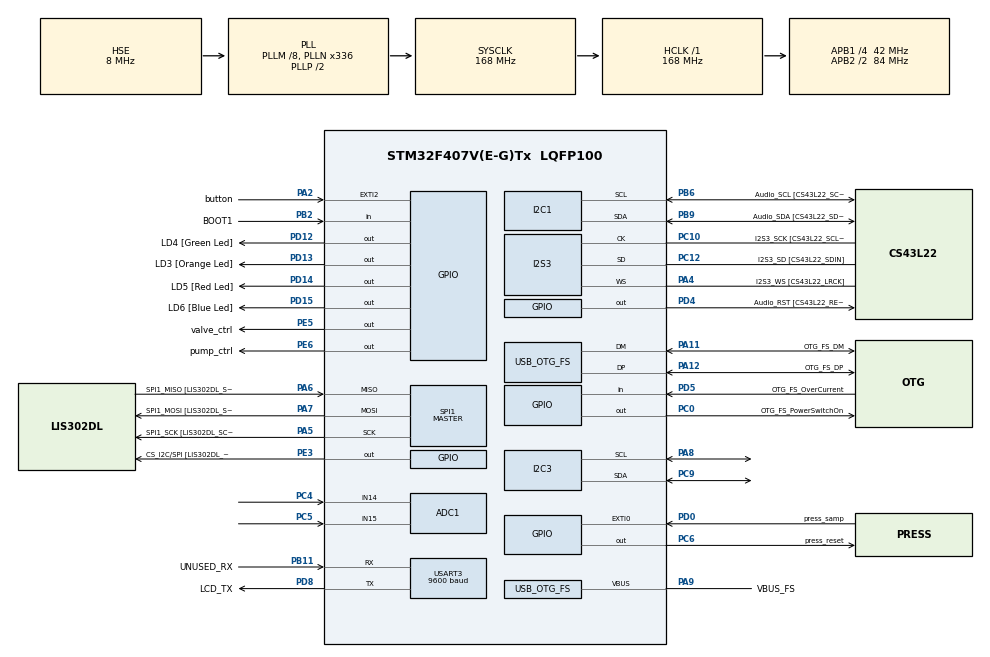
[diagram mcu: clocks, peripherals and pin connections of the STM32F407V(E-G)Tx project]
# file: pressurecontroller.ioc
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ADC1.Channel-0\#ChannelRegularConversion=ADC_CHANNEL_14
ADC1.Channel-1\#ChannelRegularConversion=ADC_CHANNEL_15
ADC1.DMAContinuousRequests=ENABLE
ADC1.EOCSelection=ADC_EOC_SEQ_CONV
ADC1.ExternalTrigConv=ADC_EXTERNALTRIGCONV_T2_TRGO
ADC1.NbrOfConversion=2
ADC1.NbrOfConversionFlag=1
ADC1.Rank-0\#ChannelRegularConversion=1
ADC1.Rank-1\#ChannelRegularConversion=2
ADC1.SamplingTime-0\#ChannelRegularConversion=ADC_SAMPLETIME_28CYCLES
ADC1.SamplingTime-1\#ChannelRegularConversion=ADC_SAMPLETIME_28CYCLES
ADC1.ScanConvMode=ENABLE
ADC1.master=1
Dma.ADC1.0.Direction=DMA_PERIPH_TO_MEMORY
Dma.ADC1.0.FIFOMode=DMA_FIFOMODE_DISABLE
Dma.ADC1.0.Instance=DMA2_Stream0
Dma.ADC1.0.MemDataAlignment=DMA_MDATAALIGN_HALFWORD
Dma.ADC1.0.MemInc=DMA_MINC_ENABLE
Dma.ADC1.0.Mode=DMA_CIRCULAR
Dma.ADC1.0.PeriphDataAlignment=DMA_PDATAALIGN_HALFWORD
Dma.ADC1.0.PeriphInc=DMA_PINC_DISABLE
Dma.ADC1.0.Priority=DMA_PRIORITY_LOW
Dma.Request0=ADC1
FREERTOS.Queues01=pressureSample,3,control_packet_t,0,Static,pressureSampleBuffer,pressureSampleControlBlock;displayQueue,3,control_variables_t,0,Static,displayQueueBuffer,displayQueueControlBlock
FREERTOS.Tasks01=mainControlTask,24,512,controlTask,Default,NULL,Dynamic,NULL,NULL;buttonSampTask,8,128,buttonTask,Default,NULL,Dynamic,NULL,NULL;LCDdisplayTask,8,1024,displayTask,Default,NULL,Dynamic,NULL,NULL
FREERTOS.Timers01=pressureSampleTimer,TriggerPressureSample,osTimerPeriodic,Default,NULL,Static,pressureSampleTimerControlBlock
FREERTOS.configUSE_NEWLIB_REENTRANT=1
I2S3.ErrorAudioFreq=0.0 %
I2S3.FullDuplexMode=I2S_FULLDUPLEXMODE_DISABLE
I2S3.Instance=SPI$Index
I2S3.RealAudioFreq=8.0 KHz
I2S3.VirtualMode=I2S_MODE_MASTER
Mcu.Family=STM32F4
Mcu.Name=STM32F407V(E-G)Tx
Mcu.Package=LQFP100
NVIC.DMA2_Stream0_IRQn=true\:5\:0\:false\:false\:true\:true\:false\:true
NVIC.EXTI0_IRQn=true\:5\:0\:false\:false\:true\:true\:true\:true
NVIC.EXTI2_IRQn=true\:5\:0\:false\:false\:true\:true\:true\:true
NVIC.I2C3_EV_IRQn=true\:5\:0\:false\:false\:true\:true\:true\:true
NVIC.OTG_FS_IRQn=true\:5\:0\:false\:false\:true\:true\:true\:true
NVIC.PriorityGroup=NVIC_PRIORITYGROUP_4
NVIC.TIM1_UP_TIM10_IRQn=true\:15\:0\:false\:false\:true\:false\:false\:true
NVIC.TimeBase=TIM1_UP_TIM10_IRQn
NVIC.TimeBaseIP=TIM1
NVIC.USART3_IRQn=true\:5\:0\:false\:false\:true\:true\:true\:true
PA10.GPIO_Label=OTG_FS_ID
PA10.GPIO_Mode=GPIO_MODE_AF_PP
PA10.GPIO_PuPd=GPIO_NOPULL
PA10.GPIO_Speed=GPIO_SPEED_FREQ_LOW
PA10.Signal=USB_OTG_FS_ID
PA11.GPIO_Label=OTG_FS_DM
PA11.GPIO_Mode=GPIO_MODE_AF_PP
PA11.GPIO_PuPd=GPIO_NOPULL
PA11.GPIO_Speed=GPIO_SPEED_FREQ_LOW
PA11.Mode=Host_Only
PA11.Signal=USB_OTG_FS_DM
PA12.GPIO_Label=OTG_FS_DP
PA12.GPIO_Mode=GPIO_MODE_AF_PP
PA12.GPIO_PuPd=GPIO_NOPULL
PA12.GPIO_Speed=GPIO_SPEED_FREQ_LOW
PA12.Mode=Host_Only
PA12.Signal=USB_OTG_FS_DP
PA13.GPIO_Label=SWDIO
PA13.Mode=Serial_Wire
PA13.Signal=SYS_JTMS-SWDIO
PA14.GPIO_Label=SWCLK
PA14.Mode=Serial_Wire
PA14.Signal=SYS_JTCK-SWCLK
PA2.GPIO_Label=button
PA2.GPIO_PuPd=GPIO_PULLUP
PA2.Signal=GPXTI2
PA4.GPIO_Label=I2S3_WS [CS43L22_LRCK]
PA4.GPIO_Mode=GPIO_MODE_AF_PP
PA4.GPIO_PuPd=GPIO_NOPULL
PA4.GPIO_Speed=GPIO_SPEED_FREQ_LOW
PA4.Mode=Half_Duplex_Master
PA4.Signal=I2S3_WS
PA5.GPIO_Label=SPI1_SCK [LIS302DL_SCL/SPC]
PA5.GPIO_Mode=GPIO_MODE_AF_PP
PA5.GPIO_PuPd=GPIO_NOPULL
PA5.GPIO_Speed=GPIO_SPEED_FREQ_LOW
PA5.Mode=Full_Duplex_Master
PA5.Signal=SPI1_SCK
PA6.GPIO_Label=SPI1_MISO [LIS302DL_SDO]
PA6.GPIO_Mode=GPIO_MODE_AF_PP
PA6.GPIO_PuPd=GPIO_NOPULL
PA6.GPIO_Speed=GPIO_SPEED_FREQ_LOW
PA6.Mode=Full_Duplex_Master
PA6.Signal=SPI1_MISO
PA7.GPIO_Label=SPI1_MOSI [LIS302DL_SDA/SDI/SDO]
PA7.GPIO_Mode=GPIO_MODE_AF_PP
PA7.GPIO_PuPd=GPIO_NOPULL
PA7.GPIO_Speed=GPIO_SPEED_FREQ_LOW
PA7.Mode=Full_Duplex_Master
PA7.Signal=SPI1_MOSI
PA8.GPIO_Pu=GPIO_PULLUP
PA8.Mode=I2C
PA8.Signal=I2C3_SCL
PA9.GPIO_Label=VBUS_FS
PA9.GPIO_Mode=GPIO_MODE_INPUT
PA9.GPIO_PuPd=GPIO_NOPULL
PA9.Mode=Activate_VBUS
PA9.Signal=USB_OTG_FS_VBUS
PB10.GPIO_Label=CLK_IN [MP45DT02_CLK]
PB10.GPIO_Mode=GPIO_MODE_AF_PP
PB10.GPIO_PuPd=GPIO_NOPULL
PB10.GPIO_Speed=GPIO_SPEED_FREQ_LOW
PB10.Signal=I2S2_CK
PB11.GPIO_Label=UNUSED_RX
PB11.Mode=Asynchronous
PB11.Signal=USART3_RX
PB2.GPIO_Label=BOOT1
PB2.GPIO_Mode=GPIO_MODE_INPUT
PB2.GPIO_PuPd=GPIO_NOPULL
PB2.Signal=GPIO_Input
PB3.GPIO_Label=SWO
PB3.Signal=SYS_JTDO-SWO
PB6.GPIO_Label=Audio_SCL [CS43L22_SCL]
PB6.GPIO_Mode=GPIO_MODE_AF_OD
PB6.GPIO_Pu=GPIO_PULLUP
PB6.GPIO_PuPd=GPIO_NOPULL
PB6.GPIO_Speed=GPIO_SPEED_FREQ_LOW
PB6.Mode=I2C
PB6.Signal=I2C1_SCL
PB9.GPIO_Label=Audio_SDA [CS43L22_SDA]
PB9.GPIO_Mode=GPIO_MODE_AF_OD
PB9.GPIO_Pu=GPIO_PULLUP
PB9.GPIO_PuPd=GPIO_NOPULL
PB9.GPIO_Speed=GPIO_SPEED_FREQ_LOW
PB9.Mode=I2C
PB9.Signal=I2C1_SDA
PC0.GPIO_Label=OTG_FS_PowerSwitchOn
PC0.GPIO_PuPd=GPIO_NOPULL
PC0.GPIO_Speed=GPIO_SPEED_FREQ_LOW
PC0.PinState=GPIO_PIN_SET
PC0.Signal=GPIO_Output
PC10.GPIO_Label=I2S3_SCK [CS43L22_SCLK]
PC10.GPIO_Mode=GPIO_MODE_AF_PP
PC10.GPIO_PuPd=GPIO_NOPULL
PC10.GPIO_Speed=GPIO_SPEED_FREQ_LOW
PC10.Mode=Half_Duplex_Master
PC10.Signal=I2S3_CK
PC12.GPIO_Label=I2S3_SD [CS43L22_SDIN]
PC12.GPIO_Mode=GPIO_MODE_AF_PP
PC12.GPIO_PuPd=GPIO_NOPULL
PC12.GPIO_Speed=GPIO_SPEED_FREQ_LOW
PC12.Mode=Half_Duplex_Master
PC12.Signal=I2S3_SD
PC14-OSC32_IN.GPIO_Label=PC14-OSC32_IN
PC14-OSC32_IN.Mode=LSE-External-Oscillator
PC14-OSC32_IN.Signal=RCC_OSC32_IN
PC15-OSC32_OUT.GPIO_Label=PC15-OSC32_OUT
PC15-OSC32_OUT.Mode=LSE-External-Oscillator
PC15-OSC32_OUT.Signal=RCC_OSC32_OUT
PC3.GPIO_Label=PDM_OUT [MP45DT02_DOUT]
PC3.GPIO_Mode=GPIO_MODE_AF_PP
PC3.GPIO_PuPd=GPIO_NOPULL
PC3.GPIO_Speed=GPIO_SPEED_FREQ_LOW
PC3.Signal=I2S2_SD
PC4.Signal=ADCx_IN14
PC5.Signal=ADCx_IN15
PC6.GPIO_Label=press_reset
PC6.Signal=GPIO_Output
PC9.GPIO_Pu=GPIO_PULLUP
PC9.Mode=I2C
PC9.Signal=I2C3_SDA
PD0.GPIO_Label=press_samp
PD0.GPIO_PuPd=GPIO_PULLUP
PD0.Signal=GPXTI0
PD12.GPIO_Label=LD4 [Green Led]
PD12.GPIO_PuPd=GPIO_NOPULL
PD12.GPIO_Speed=GPIO_SPEED_FREQ_LOW
PD12.Signal=GPIO_Output
PD13.GPIO_Label=LD3 [Orange Led]
PD13.GPIO_PuPd=GPIO_NOPULL
PD13.GPIO_Speed=GPIO_SPEED_FREQ_LOW
PD13.Signal=GPIO_Output
PD14.GPIO_Label=LD5 [Red Led]
PD14.GPIO_PuPd=GPIO_NOPULL
PD14.GPIO_Speed=GPIO_SPEED_FREQ_LOW
PD14.Signal=GPIO_Output
PD15.GPIO_Label=LD6 [Blue Led]
PD15.GPIO_PuPd=GPIO_NOPULL
PD15.GPIO_Speed=GPIO_SPEED_FREQ_LOW
PD15.Signal=GPIO_Output
PD4.GPIO_Label=Audio_RST [CS43L22_RESET]
PD4.GPIO_PuPd=GPIO_NOPULL
PD4.GPIO_Speed=GPIO_SPEED_FREQ_LOW
PD4.Signal=GPIO_Output
PD5.GPIO_Label=OTG_FS_OverCurrent
PD5.GPIO_Mode=GPIO_MODE_INPUT
PD5.GPIO_PuPd=GPIO_NOPULL
PD5.Signal=GPIO_Input
PD8.GPIO_Label=LCD_TX
PD8.Mode=Asynchronous
PD8.Signal=USART3_TX
PE3.GPIO_Label=CS_I2C/SPI [LIS302DL_CS_I2C/SPI]
PE3.GPIO_PuPd=GPIO_NOPULL
PE3.GPIO_Speed=GPIO_SPEED_FREQ_LOW
PE3.Signal=GPIO_Output
PE5.GPIO_Label=valve_ctrl
PE5.Signal=GPIO_Output
PE6.GPIO_Label=pump_ctrl
PE6.Signal=GPIO_Output
PH0-OSC_IN.GPIO_Label=PH0-OSC_IN
PH0-OSC_IN.Mode=HSE-External-Oscillator
PH0-OSC_IN.Signal=RCC_OSC_IN
PH1-OSC_OUT.GPIO_Label=PH1-OSC_OUT
PH1-OSC_OUT.Mode=HSE-External-Oscillator
PH1-OSC_OUT.Signal=RCC_OSC_OUT
ProjectManager.HeapSize=0x200
ProjectManager.StackSize=0x400
ProjectManager.TargetToolchain=STM32CubeIDE
RCC.48MHZClocksFreq_Value=48000000
RCC.AHBFreq_Value=168000000
RCC.APB1CLKDivider=RCC_HCLK_DIV4
RCC.APB1Freq_Value=42000000
RCC.APB1TimFreq_Value=84000000
RCC.APB2CLKDivider=RCC_HCLK_DIV2
RCC.APB2Freq_Value=84000000
RCC.APB2TimFreq_Value=168000000
RCC.CortexFreq_Value=168000000
RCC.HCLKFreq_Value=168000000
RCC.HSE_VALUE=8000000
RCC.HSI_VALUE=16000000
RCC.PLLM=8
RCC.PLLN=336
RCC.PLLQ=7
RCC.SYSCLKFreq_VALUE=168000000
RCC.SYSCLKSource=RCC_SYSCLKSOURCE_PLLCLK
RCC.VCOOutputFreq_Value=336000000
SH.ADCx_IN14.0=ADC1_IN14,IN14
SH.ADCx_IN15.0=ADC1_IN15,IN15
SPI1.BaudRatePrescaler-Full_Duplex_Master=SPI_BAUDRATEPRESCALER_2
SPI1.CalculateBaudRate-Full_Duplex_Master=42.0 MBits/s
SPI1.Direction=SPI_DIRECTION_2LINES
SPI1.Mode=SPI_MODE_MASTER
SPI1.Mode-Full_Duplex_Master=SPI_MODE_MASTER
SPI1.VirtualType=VM_MASTER
TIM2.AutoReloadPreload=TIM_AUTORELOAD_PRELOAD_ENABLE
TIM2.Period=80
TIM2.Prescaler=42000
TIM2.TIM_MasterOutputTrigger=TIM_TRGO_UPDATE
USART3.BaudRate=9600
USART3.VirtualMode=VM_ASYNC
USB_HOST.BSP.number=1
USB_HOST.USBH_HandleTypeDef-CDC_FS=hUsbHostFS
USB_HOST.VirtualModeFS=Cdc
USB_HOST0.BSP.STBoard=false
USB_HOST0.BSP.api=Unknown
USB_HOST0.BSP.i2caddr=0
USB_HOST0.BSP.i2creg=0
USB_HOST0.BSP.instance=PC0
USB_HOST0.BSP.ip=GPIO
USB_HOST0.BSP.mode=Output
USB_HOST0.BSP.name=Drive_VBUS_FS
USB_HOST0.BSP.solution=PC0
USB_OTG_FS.VirtualMode=Host_Only
USB_OTG_FS.phy_itface=HCD_PHY_EMBEDDED
VP_FREERTOS_VS_CMSIS_V2.Mode=CMSIS_V2
VP_SYS_VS_tim1.Mode=TIM1
VP_TIM2_VS_ClockSourceINT.Mode=Internal
VP_USB_HOST_VS_USB_HOST_CDC_FS.Mode=CDC_FS
board=STM32F407G-DISC1

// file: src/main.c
/* USER CODE BEGIN Header */
/**
  ******************************************************************************
  * @file           : main.c
  * @brief          : Main program body
  ******************************************************************************
  *  Vacuum Chamber Controller
  *  Created by Joshua Karch for Eyebotix, LLC
  *  (C)2020,2021 by Joshua Karch
  *  This code is partially generated by STM32CubeMX so portions of this code
  *  that are autogenerated are licensed by ST under Ultimate Liberty license
  *  SLA0044, the "License"; You may not use this file except in compliance with
  *  the License. You may obtain a copy of the License at:
  *                             www.st.com/SLA0044
  *  The remainder of this code is covered under
  *  MIT License
  *  Copyright (c) 2020-2021 Joshua P. Karch
  *
  *  Permission is hereby granted, free of charge, to any person obtaining a copy
  *  of this software and associated documentation files (the "Software"), to deal
  *  in the Software without restriction, including without limitation the rights
  *  to use, copy, modify, merge, publish, distribute, sublicense, and/or sell
  *  copies of the Software, and to permit persons to whom the Software is
  *  furnished to do so, subject to the following conditions:
  *  The above copyright notice and this permission notice shall be included in all
  *  copies or substantial portions of the Software.
  *
  *  THE SOFTWARE IS PROVIDED "AS IS", WITHOUT WARRANTY OF ANY KIND, EXPRESS OR
  *  IMPLIED, INCLUDING BUT NOT LIMITED TO THE WARRANTIES OF MERCHANTABILITY,
  *  FITNESS FOR A PARTICULAR PURPOSE AND NONINFRINGEMENT. IN NO EVENT SHALL THE
  *  AUTHORS OR COPYRIGHT HOLDERS BE LIABLE FOR ANY CLAIM, DAMAGES OR OTHER
  *  LIABILITY, WHETHER IN AN ACTION OF CONTRACT, TORT OR OTHERWISE, ARISING FROM,
  *  OUT OF OR IN CONNECTION WITH THE SOFTWARE OR THE USE OR OTHER DEALINGS IN THE
  *  SOFTWARE.
  *
  ******************************************************************************
  */
/* USER CODE END Header */
#include "main.h"
#include "cmsis_os.h"
#include "usb_host.h"
#include "usb_host.h"

/* USER CODE BEGIN Includes */
//https://www.youtube.com/watch?v=uohla8zjzkk
//ADC stuff
#include <string.h>
#include <stdio.h>
/* USER CODE END Includes */

typedef StaticQueue_t osStaticMessageQDef_t;
typedef StaticTimer_t osStaticTimerDef_t;

ADC_HandleTypeDef hadc1;
DMA_HandleTypeDef hdma_adc1;

I2C_HandleTypeDef hi2c1;
I2C_HandleTypeDef hi2c3;

I2S_HandleTypeDef hi2s3;

SPI_HandleTypeDef hspi1;

TIM_HandleTypeDef htim2;

UART_HandleTypeDef huart3;

/* Definitions for mainControlTask */
osThreadId_t mainControlTaskHandle;
const osThreadAttr_t mainControlTask_attributes = {
  .name = "mainControlTask",
  .stack_size = 512 * 4,
  .priority = (osPriority_t) osPriorityNormal,
};
/* Definitions for buttonSampTask */
osThreadId_t buttonSampTaskHandle;
const osThreadAttr_t buttonSampTask_attributes = {
  .name = "buttonSampTask",
  .stack_size = 128 * 4,
  .priority = (osPriority_t) osPriorityLow,
};
/* Definitions for LCDdisplayTask */
osThreadId_t LCDdisplayTaskHandle;
const osThreadAttr_t LCDdisplayTask_attributes = {
  .name = "LCDdisplayTask",
  .stack_size = 1024 * 4,
  .priority = (osPriority_t) osPriorityLow,
};
/* Definitions for pressureSample */
osMessageQueueId_t pressureSampleHandle;
control_packet_t pressureSampleBuffer[3];
osStaticMessageQDef_t pressureSampleControlBlock;
const osMessageQueueAttr_t pressureSample_attributes = {
  .name = "pressureSample",
  .cb_mem = &pressureSampleControlBlock,
  .cb_size = sizeof(pressureSampleControlBlock),
  .mq_mem = &pressureSampleBuffer,
  .mq_size = sizeof(pressureSampleBuffer)
};
/* Definitions for displayQueue */
osMessageQueueId_t displayQueueHandle;
control_variables_t displayQueueBuffer[3];
osStaticMessageQDef_t displayQueueControlBlock;
const osMessageQueueAttr_t displayQueue_attributes = {
  .name = "displayQueue",
  .cb_mem = &displayQueueControlBlock,
  .cb_size = sizeof(displayQueueControlBlock),
  .mq_mem = &displayQueueBuffer,
  .mq_size = sizeof(displayQueueBuffer)
};
/* Definitions for pressureSampleTimer */
osTimerId_t pressureSampleTimerHandle;
osStaticTimerDef_t pressureSampleTimerControlBlock;
const osTimerAttr_t pressureSampleTimer_attributes = {
  .name = "pressureSampleTimer",
  .cb_mem = &pressureSampleTimerControlBlock,
  .cb_size = sizeof(pressureSampleTimerControlBlock),
};
/* USER CODE BEGIN PV */
//Pressure data location for I2C ISR
volatile uint8_t pressureData[4];
//DMA storage location for Joystick ADC readings:
volatile uint16_t Joystick[2];
//button debounce structure
volatile button_debounce_t button;
//function command list
const uint8_t function_commands[3] = { SetPressure, Purge, RunContinuous };
//pressure control variables
const uint8_t row_positions[4] = { 0x00, 0x40, 0x14, 0x54 };
const char* pres_samp_mode = "Press Md";
const char* purge_mode = "Purge Md";
const char* continuous_mode = "Contin Md";

//control_packet_t pressureSampleBuffer[3];  //copy and paste this into the auto generated structure.
//control_variables_t displayQueueBuffer[3];
volatile control_variables_t ctrl_vars;

/* USER CODE END PV */

void SystemClock_Config(void);
static void MX_GPIO_Init(void);
static void MX_DMA_Init(void);
static void MX_ADC1_Init(void);
static void MX_I2C1_Init(void);
static void MX_I2S3_Init(void);
static void MX_SPI1_Init(void);
static void MX_TIM2_Init(void);
static void MX_I2C3_Init(void);
static void MX_USART3_UART_Init(void);
void controlTask(void *argument);
void buttonTask(void *argument);
void displayTask(void *argument);
void TriggerPressureSample(void *argument);

int main(void)
{
  /* USER CODE BEGIN 1 */
	memset((void *)&button, 0, sizeof(button_debounce_t)); //erase
  /* USER CODE END 1 */

  /* MCU Configuration--------------------------------------------------------*/

  /* Reset of all peripherals, Initializes the Flash interface and the Systick. */
  HAL_Init();

  /* Configure the system clock */
  SystemClock_Config();

  /* Initialize all configured peripherals */
  MX_GPIO_Init();
  MX_DMA_Init();
  MX_ADC1_Init();
  MX_I2C1_Init();
  MX_I2S3_Init();
  MX_SPI1_Init();
  MX_TIM2_Init();
  MX_I2C3_Init();
  MX_USART3_UART_Init();
  /* USER CODE BEGIN 2 */
	HAL_GPIO_WritePin(press_reset_GPIO_Port, press_reset_Pin, GPIO_PIN_RESET);
	osDelay(100);
	HAL_GPIO_WritePin(press_reset_GPIO_Port, press_reset_Pin, GPIO_PIN_SET);
	osDelay(100);
	HAL_TIM_Base_Start(&htim2);
	HAL_ADC_Start_DMA(&hadc1, (uint32_t*) Joystick, 2);
  /* USER CODE END 2 */

  /* Init scheduler */
  osKernelInitialize();

  /* Create the timer(s) */
  /* creation of pressureSampleTimer */
  pressureSampleTimerHandle = osTimerNew(TriggerPressureSample, osTimerPeriodic, NULL, &pressureSampleTimer_attributes);

  /* Create the queue(s) */
  /* creation of pressureSample */
  pressureSampleHandle = osMessageQueueNew (3, sizeof(control_packet_t), &pressureSample_attributes);

  /* creation of displayQueue */
  displayQueueHandle = osMessageQueueNew (3, sizeof(control_variables_t), &displayQueue_attributes);

  /* Create the thread(s) */
  /* creation of mainControlTask */
  mainControlTaskHandle = osThreadNew(controlTask, NULL, &mainControlTask_attributes);

  /* creation of buttonSampTask */
  buttonSampTaskHandle = osThreadNew(buttonTask, NULL, &buttonSampTask_attributes);

  /* creation of LCDdisplayTask */
  LCDdisplayTaskHandle = osThreadNew(displayTask, NULL, &LCDdisplayTask_attributes);

  /* USER CODE BEGIN RTOS_EVENTS */
  /* add events, ... */
	osStatus_t status = osTimerStart(pressureSampleTimerHandle, PRESS_TIMER_DELAY); // start timer
	if (status != osOK) {
		// Timer could not be started
	}
  /* USER CODE END RTOS_EVENTS */

  /* Start scheduler */
  osKernelStart();

  /* We should never get here as control is now taken by the scheduler */
  /* Infinite loop */
  while (1)
  {

  }
}

void SystemClock_Config(void)
{
  RCC_OscInitTypeDef RCC_OscInitStruct = {0};
  RCC_ClkInitTypeDef RCC_ClkInitStruct = {0};

  /** Configure the main internal regulator output voltage
  */
  __HAL_RCC_PWR_CLK_ENABLE();
  __HAL_PWR_VOLTAGESCALING_CONFIG(PWR_REGULATOR_VOLTAGE_SCALE1);
  /** Initializes the RCC Oscillators according to the specified parameters
  * in the RCC_OscInitTypeDef structure.
  */
  RCC_OscInitStruct.OscillatorType = RCC_OSCILLATORTYPE_HSE;
  RCC_OscInitStruct.HSEState = RCC_HSE_ON;
  RCC_OscInitStruct.PLL.PLLState = RCC_PLL_ON;
  RCC_OscInitStruct.PLL.PLLSource = RCC_PLLSOURCE_HSE;
  RCC_OscInitStruct.PLL.PLLM = 8;
  RCC_OscInitStruct.PLL.PLLN = 336;
  RCC_OscInitStruct.PLL.PLLP = RCC_PLLP_DIV2;
  RCC_OscInitStruct.PLL.PLLQ = 7;
  if (HAL_RCC_OscConfig(&RCC_OscInitStruct) != HAL_OK)
  {
    Error_Handler();
  }
  /** Initializes the CPU, AHB and APB buses clocks
  */
  RCC_ClkInitStruct.ClockType = RCC_CLOCKTYPE_HCLK|RCC_CLOCKTYPE_SYSCLK
                              |RCC_CLOCKTYPE_PCLK1|RCC_CLOCKTYPE_PCLK2;
  RCC_ClkInitStruct.SYSCLKSource = RCC_SYSCLKSOURCE_PLLCLK;
  RCC_ClkInitStruct.AHBCLKDivider = RCC_SYSCLK_DIV1;
  RCC_ClkInitStruct.APB1CLKDivider = RCC_HCLK_DIV4;
  RCC_ClkInitStruct.APB2CLKDivider = RCC_HCLK_DIV2;

  if (HAL_RCC_ClockConfig(&RCC_ClkInitStruct, FLASH_LATENCY_5) != HAL_OK)
  {
    Error_Handler();
  }
}

static void MX_ADC1_Init(void)
{

  ADC_ChannelConfTypeDef sConfig = {0};

  /** Configure the global features of the ADC (Clock, Resolution, Data Alignment and number of conversion)
  */
  hadc1.Instance = ADC1;
  hadc1.Init.ClockPrescaler = ADC_CLOCK_SYNC_PCLK_DIV4;
  hadc1.Init.Resolution = ADC_RESOLUTION_12B;
  hadc1.Init.ScanConvMode = ENABLE;
  hadc1.Init.ContinuousConvMode = DISABLE;
  hadc1.Init.DiscontinuousConvMode = DISABLE;
  hadc1.Init.ExternalTrigConvEdge = ADC_EXTERNALTRIGCONVEDGE_RISING;
  hadc1.Init.ExternalTrigConv = ADC_EXTERNALTRIGCONV_T2_TRGO;
  hadc1.Init.DataAlign = ADC_DATAALIGN_RIGHT;
  hadc1.Init.NbrOfConversion = 2;
  hadc1.Init.DMAContinuousRequests = ENABLE;
  hadc1.Init.EOCSelection = ADC_EOC_SEQ_CONV;
  if (HAL_ADC_Init(&hadc1) != HAL_OK)
  {
    Error_Handler();
  }
  /** Configure for the selected ADC regular channel its corresponding rank in the sequencer and its sample time.
  */
  sConfig.Channel = ADC_CHANNEL_14;
  sConfig.Rank = 1;
  sConfig.SamplingTime = ADC_SAMPLETIME_28CYCLES;
  if (HAL_ADC_ConfigChannel(&hadc1, &sConfig) != HAL_OK)
  {
    Error_Handler();
  }
  /** Configure for the selected ADC regular channel its corresponding rank in the sequencer and its sample time.
  */
  sConfig.Channel = ADC_CHANNEL_15;
  sConfig.Rank = 2;
  if (HAL_ADC_ConfigChannel(&hadc1, &sConfig) != HAL_OK)
  {
    Error_Handler();
  }

}

static void MX_I2C1_Init(void)
{

  hi2c1.Instance = I2C1;
  hi2c1.Init.ClockSpeed = 100000;
  hi2c1.Init.DutyCycle = I2C_DUTYCYCLE_2;
  hi2c1.Init.OwnAddress1 = 0;
  hi2c1.Init.AddressingMode = I2C_ADDRESSINGMODE_7BIT;
  hi2c1.Init.DualAddressMode = I2C_DUALADDRESS_DISABLE;
  hi2c1.Init.OwnAddress2 = 0;
  hi2c1.Init.GeneralCallMode = I2C_GENERALCALL_DISABLE;
  hi2c1.Init.NoStretchMode = I2C_NOSTRETCH_DISABLE;
  if (HAL_I2C_Init(&hi2c1) != HAL_OK)
  {
    Error_Handler();
  }

}

static void MX_I2C3_Init(void)
{

  hi2c3.Instance = I2C3;
  hi2c3.Init.ClockSpeed = 100000;
  hi2c3.Init.DutyCycle = I2C_DUTYCYCLE_2;
  hi2c3.Init.OwnAddress1 = 0;
  hi2c3.Init.AddressingMode = I2C_ADDRESSINGMODE_7BIT;
  hi2c3.Init.DualAddressMode = I2C_DUALADDRESS_DISABLE;
  hi2c3.Init.OwnAddress2 = 0;
  hi2c3.Init.GeneralCallMode = I2C_GENERALCALL_DISABLE;
  hi2c3.Init.NoStretchMode = I2C_NOSTRETCH_DISABLE;
  if (HAL_I2C_Init(&hi2c3) != HAL_OK)
  {
    Error_Handler();
  }

}

static void MX_I2S3_Init(void)
{

  hi2s3.Instance = SPI3;
  hi2s3.Init.Mode = I2S_MODE_MASTER_TX;
  hi2s3.Init.Standard = I2S_STANDARD_PHILIPS;
  hi2s3.Init.DataFormat = I2S_DATAFORMAT_16B;
  hi2s3.Init.MCLKOutput = I2S_MCLKOUTPUT_DISABLE;
  hi2s3.Init.AudioFreq = I2S_AUDIOFREQ_8K;
  hi2s3.Init.CPOL = I2S_CPOL_LOW;
  hi2s3.Init.ClockSource = I2S_CLOCK_PLL;
  hi2s3.Init.FullDuplexMode = I2S_FULLDUPLEXMODE_DISABLE;
  if (HAL_I2S_Init(&hi2s3) != HAL_OK)
  {
    Error_Handler();
  }

}

static void MX_SPI1_Init(void)
{

  /* SPI1 parameter configuration*/
  hspi1.Instance = SPI1;
  hspi1.Init.Mode = SPI_MODE_MASTER;
  hspi1.Init.Direction = SPI_DIRECTION_2LINES;
  hspi1.Init.DataSize = SPI_DATASIZE_8BIT;
  hspi1.Init.CLKPolarity = SPI_POLARITY_LOW;
  hspi1.Init.CLKPhase = SPI_PHASE_1EDGE;
  hspi1.Init.NSS = SPI_NSS_SOFT;
  hspi1.Init.BaudRatePrescaler = SPI_BAUDRATEPRESCALER_2;
  hspi1.Init.FirstBit = SPI_FIRSTBIT_MSB;
  hspi1.Init.TIMode = SPI_TIMODE_DISABLE;
  hspi1.Init.CRCCalculation = SPI_CRCCALCULATION_DISABLE;
  hspi1.Init.CRCPolynomial = 10;
  if (HAL_SPI_Init(&hspi1) != HAL_OK)
  {
    Error_Handler();
  }

}

static void MX_TIM2_Init(void)
{

  TIM_ClockConfigTypeDef sClockSourceConfig = {0};
  TIM_MasterConfigTypeDef sMasterConfig = {0};

  htim2.Instance = TIM2;
  htim2.Init.Prescaler = 42000;
  htim2.Init.CounterMode = TIM_COUNTERMODE_UP;
  htim2.Init.Period = 80;
  htim2.Init.ClockDivision = TIM_CLOCKDIVISION_DIV1;
  htim2.Init.AutoReloadPreload = TIM_AUTORELOAD_PRELOAD_ENABLE;
  if (HAL_TIM_Base_Init(&htim2) != HAL_OK)
  {
    Error_Handler();
  }
  sClockSourceConfig.ClockSource = TIM_CLOCKSOURCE_INTERNAL;
  if (HAL_TIM_ConfigClockSource(&htim2, &sClockSourceConfig) != HAL_OK)
  {
    Error_Handler();
  }
  sMasterConfig.MasterOutputTrigger = TIM_TRGO_UPDATE;
  sMasterConfig.MasterSlaveMode = TIM_MASTERSLAVEMODE_DISABLE;
  if (HAL_TIMEx_MasterConfigSynchronization(&htim2, &sMasterConfig) != HAL_OK)
  {
    Error_Handler();
  }

}

static void MX_USART3_UART_Init(void)
{

  huart3.Instance = USART3;
  huart3.Init.BaudRate = 9600;
  huart3.Init.WordLength = UART_WORDLENGTH_8B;
  huart3.Init.StopBits = UART_STOPBITS_1;
  huart3.Init.Parity = UART_PARITY_NONE;
  huart3.Init.Mode = UART_MODE_TX_RX;
  huart3.Init.HwFlowCtl = UART_HWCONTROL_NONE;
  huart3.Init.OverSampling = UART_OVERSAMPLING_16;
  if (HAL_UART_Init(&huart3) != HAL_OK)
  {
    Error_Handler();
  }

}

static void MX_DMA_Init(void)
{

  /* DMA controller clock enable */
  __HAL_RCC_DMA2_CLK_ENABLE();

  /* DMA interrupt init */
  /* DMA2_Stream0_IRQn interrupt configuration */
  HAL_NVIC_SetPriority(DMA2_Stream0_IRQn, 5, 0);
  HAL_NVIC_EnableIRQ(DMA2_Stream0_IRQn);

}

static void MX_GPIO_Init(void)
{
  GPIO_InitTypeDef GPIO_InitStruct = {0};

  /* GPIO Ports Clock Enable */
  __HAL_RCC_GPIOE_CLK_ENABLE();
  __HAL_RCC_GPIOC_CLK_ENABLE();
  __HAL_RCC_GPIOH_CLK_ENABLE();
  __HAL_RCC_GPIOA_CLK_ENABLE();
  __HAL_RCC_GPIOB_CLK_ENABLE();
  __HAL_RCC_GPIOD_CLK_ENABLE();

  /*Configure GPIO pin Output Level */
  HAL_GPIO_WritePin(GPIOE, CS_I2C_SPI_Pin|valve_ctrl_Pin|pump_ctrl_Pin, GPIO_PIN_RESET);

  /*Configure GPIO pin Output Level */
  HAL_GPIO_WritePin(OTG_FS_PowerSwitchOn_GPIO_Port, OTG_FS_PowerSwitchOn_Pin, GPIO_PIN_SET);

  /*Configure GPIO pin Output Level */
  HAL_GPIO_WritePin(GPIOD, LD4_Pin|LD3_Pin|LD5_Pin|LD6_Pin
                          |Audio_RST_Pin, GPIO_PIN_RESET);

  /*Configure GPIO pin Output Level */
  HAL_GPIO_WritePin(press_reset_GPIO_Port, press_reset_Pin, GPIO_PIN_RESET);

  /*Configure GPIO pins : CS_I2C_SPI_Pin valve_ctrl_Pin pump_ctrl_Pin */
  GPIO_InitStruct.Pin = CS_I2C_SPI_Pin|valve_ctrl_Pin|pump_ctrl_Pin;
  GPIO_InitStruct.Mode = GPIO_MODE_OUTPUT_PP;
  GPIO_InitStruct.Pull = GPIO_NOPULL;
  GPIO_InitStruct.Speed = GPIO_SPEED_FREQ_LOW;
  HAL_GPIO_Init(GPIOE, &GPIO_InitStruct);

  /*Configure GPIO pins : OTG_FS_PowerSwitchOn_Pin press_reset_Pin */
  GPIO_InitStruct.Pin = OTG_FS_PowerSwitchOn_Pin|press_reset_Pin;
  GPIO_InitStruct.Mode = GPIO_MODE_OUTPUT_PP;
  GPIO_InitStruct.Pull = GPIO_NOPULL;
  GPIO_InitStruct.Speed = GPIO_SPEED_FREQ_LOW;
  HAL_GPIO_Init(GPIOC, &GPIO_InitStruct);

  /*Configure GPIO pin : PDM_OUT_Pin */
  GPIO_InitStruct.Pin = PDM_OUT_Pin;
  GPIO_InitStruct.Mode = GPIO_MODE_AF_PP;
  GPIO_InitStruct.Pull = GPIO_NOPULL;
  GPIO_InitStruct.Speed = GPIO_SPEED_FREQ_LOW;
  GPIO_InitStruct.Alternate = GPIO_AF5_SPI2;
  HAL_GPIO_Init(PDM_OUT_GPIO_Port, &GPIO_InitStruct);

  /*Configure GPIO pin : button_Pin */
  GPIO_InitStruct.Pin = button_Pin;
  GPIO_InitStruct.Mode = GPIO_MODE_IT_RISING;
  GPIO_InitStruct.Pull = GPIO_PULLUP;
  HAL_GPIO_Init(button_GPIO_Port, &GPIO_InitStruct);

  /*Configure GPIO pin : BOOT1_Pin */
  GPIO_InitStruct.Pin = BOOT1_Pin;
  GPIO_InitStruct.Mode = GPIO_MODE_INPUT;
  GPIO_InitStruct.Pull = GPIO_NOPULL;
  HAL_GPIO_Init(BOOT1_GPIO_Port, &GPIO_InitStruct);

  /*Configure GPIO pin : CLK_IN_Pin */
  GPIO_InitStruct.Pin = CLK_IN_Pin;
  GPIO_InitStruct.Mode = GPIO_MODE_AF_PP;
  GPIO_InitStruct.Pull = GPIO_NOPULL;
  GPIO_InitStruct.Speed = GPIO_SPEED_FREQ_LOW;
  GPIO_InitStruct.Alternate = GPIO_AF5_SPI2;
  HAL_GPIO_Init(CLK_IN_GPIO_Port, &GPIO_InitStruct);

  /*Configure GPIO pins : LD4_Pin LD3_Pin LD5_Pin LD6_Pin
                           Audio_RST_Pin */
  GPIO_InitStruct.Pin = LD4_Pin|LD3_Pin|LD5_Pin|LD6_Pin
                          |Audio_RST_Pin;
  GPIO_InitStruct.Mode = GPIO_MODE_OUTPUT_PP;
  GPIO_InitStruct.Pull = GPIO_NOPULL;
  GPIO_InitStruct.Speed = GPIO_SPEED_FREQ_LOW;
  HAL_GPIO_Init(GPIOD, &GPIO_InitStruct);

  /*Configure GPIO pin : press_samp_Pin */
  GPIO_InitStruct.Pin = press_samp_Pin;
  GPIO_InitStruct.Mode = GPIO_MODE_IT_RISING;
  GPIO_InitStruct.Pull = GPIO_PULLUP;
  HAL_GPIO_Init(press_samp_GPIO_Port, &GPIO_InitStruct);

  /*Configure GPIO pin : OTG_FS_OverCurrent_Pin */
  GPIO_InitStruct.Pin = OTG_FS_OverCurrent_Pin;
  GPIO_InitStruct.Mode = GPIO_MODE_INPUT;
  GPIO_InitStruct.Pull = GPIO_NOPULL;
  HAL_GPIO_Init(OTG_FS_OverCurrent_GPIO_Port, &GPIO_InitStruct);

  /* EXTI interrupt init*/
  HAL_NVIC_SetPriority(EXTI0_IRQn, 5, 0);
  HAL_NVIC_EnableIRQ(EXTI0_IRQn);

  HAL_NVIC_SetPriority(EXTI2_IRQn, 5, 0);
  HAL_NVIC_EnableIRQ(EXTI2_IRQn);

}

/* USER CODE BEGIN 4 */
uint32_t rawPressureDataFromBytes(uint8_t *data, size_t size)
{
	if (size == 4)
		return (uint32_t)data[3] | ((uint32_t)data[2]) << 8 | ((uint32_t)data[1] << 16);
	else return 0;
}
float processPressureSensorData(uint8_t *data, size_t size)
{
	//byte format is [status][23-16][15-8][7-0]
	//ignore status in this example
	uint32_t raw_data = (uint32_t)data[3] | ((uint32_t)data[2]) << 8 | ((uint32_t)data[1] << 16);
	return (float)((raw_data - OUTPUT_MIN)*(PRESS_MAX - PRESS_MIN)) /
		(float)((OUTPUT_MAX - OUTPUT_MIN));

}

float sensorDataToPressure(uint32_t value)
{
	return (((float)(value) - OUTPUT_MIN)*(PRESS_MAX - PRESS_MIN)) /
		(float)((OUTPUT_MAX - OUTPUT_MIN));

}

void HAL_GPIO_EXTI_Callback(uint16_t GPIO_Pin)
{
	switch (GPIO_Pin)
	{
	case GPIO_PIN_0: // vac drdy, trigger receive interrupt

		HAL_I2C_Master_Receive_IT(&hi2c3, press_addr, (uint8_t *)pressureData, sizeof(pressureData));
		break;
	case GPIO_PIN_2: // button press, debounce signaling
		if (button.flag_debouncing == 0)
			osThreadFlagsSet(buttonSampTaskHandle, USER_BUTTON_DETECTED);

		break;
	default:
		;
	}
}

//change to DMA Complete callback
void HAL_ADC_ConvCpltCallback(ADC_HandleTypeDef* hadc) {
	/* This is called after the conversion is completed */
	//send over queue?

	pressureSampleBuffer[0].id = analog_sample;
	pressureSampleBuffer[0].x_posn = Joystick[0];
	pressureSampleBuffer[0].y_posn = Joystick[1];
	osMessageQueuePut(pressureSampleHandle, pressureSampleBuffer, 0U, 0U);
}
void HAL_I2C_MasterTxCpltCallback(I2C_HandleTypeDef *hi2c)
{
	//on transmission, do nothing, wait for reception
}

void HAL_I2C_MasterRxCpltCallback(I2C_HandleTypeDef *hi2c)
{
	//on receipt, send data over queue to thread to decode
	pressureSampleBuffer[0].id = pressure_sample;
	pressureSampleBuffer[0].pressure_raw = rawPressureDataFromBytes((uint8_t *)pressureData, sizeof(pressureData));
	osMessageQueuePut(pressureSampleHandle, pressureSampleBuffer, 0U, 0U);
}

void debugPrintAtPos(UART_HandleTypeDef *huart, char _out[],uint8_t pos,size_t len) {
	char setpos[3] = "\xFE\x45\x00";
	setpos[2] = pos;
	HAL_UART_Transmit_IT(huart, (uint8_t *) setpos,sizeof(setpos));
	osDelay(10);
	HAL_UART_Transmit_IT(huart, (uint8_t *) _out, len);
	osDelay(20);
}
void debugPrint(UART_HandleTypeDef *huart, char _out[]) {
	HAL_UART_Transmit_IT(huart, (uint8_t *) _out, strlen(_out));
	osDelay(1);
}

void debugPrintln(UART_HandleTypeDef *huart, char _out[]) {
	HAL_UART_Transmit_IT(huart, (uint8_t *) _out, strlen(_out));
	osDelay(10);
	char home[2] = "\xFE\x46";
	HAL_UART_Transmit_IT(huart, (uint8_t *) home, 2);
	osDelay(10);
}

void debugClrScrn(UART_HandleTypeDef *huart)
{
	char clearscreen[2] = "\xFE\x51";
	HAL_UART_Transmit_IT(huart, (uint8_t *) clearscreen, 2);
	osDelay(10);

}
/* USER CODE END 4 */

void controlTask(void *argument)
{
  /* init code for USB_HOST */
  MX_USB_HOST_Init();
  /* USER CODE BEGIN 5 */
	osStatus_t status;

	uint32_t timer_x = 0;
	uint32_t timer_y = 0;
	int32_t function_index = 1;
	ctrl_vars.current_pressure_setpoint = DEFAULT_PRESSURE_SETPOINT;
	ctrl_vars.desired_pressure_setpoint = DEFAULT_PRESSURE_SETPOINT;
	ctrl_vars.current_command = function_commands[function_index];  //index 1 is purge
	ctrl_vars.desired_command = function_commands[function_index];	//index 1 is purge

	debugClrScrn(&huart3);
  /* Infinite loop */
  for(;;)
  {
	  status = osMessageQueueGet(pressureSampleHandle, pressureSampleBuffer, NULL, osWaitForever); // wait for message
	  if (status == osOK) {
		  //look at ID and either store pressure sample or act on "debounced" joystick input or "commit changes" if button pressed.
		  switch (pressureSampleBuffer[0].id)
		  {
		  case pressure_sample:
			  ctrl_vars.measured_pressure = sensorDataToPressure(pressureSampleBuffer[0].pressure_raw);
			  //perform controls here...
			  switch (ctrl_vars.current_command)
			  {
			  case SetPressure:
				  if (ctrl_vars.pump_cmd == 1)
				  {
					  //if pump is already on
					  if (ctrl_vars.measured_pressure < (ctrl_vars.current_pressure_setpoint-(float)OFF_HYSTERESIS))
					  {
						  ctrl_vars.pump_cmd = 0;
						  ctrl_vars.valve_cmd = 0;
					  }
				  }
				  else if (ctrl_vars.measured_pressure > ctrl_vars.current_pressure_setpoint)
				  {
					  ctrl_vars.pump_cmd = 1;
					  ctrl_vars.valve_cmd = 0;
				  }
				  else if (ctrl_vars.measured_pressure < (ctrl_vars.current_pressure_setpoint-PURGE_HYSTERESIS))
				  {
					  ctrl_vars.pump_cmd = 0;
					  ctrl_vars.valve_cmd = 1;
				  }

				  break;
			  case Purge:
				  ctrl_vars.pump_cmd = 0;
				  ctrl_vars.valve_cmd = 1;
				  ctrl_vars.desired_pressure_setpoint = DEFAULT_PRESSURE_SETPOINT;
				  break;
			  case RunContinuous:
				  ctrl_vars.pump_cmd = 1;
				  ctrl_vars.valve_cmd = 0;
				  ctrl_vars.desired_pressure_setpoint = DEFAULT_PRESSURE_SETPOINT;
				  break;
			  default:
				  ;

			  }

			  HAL_GPIO_WritePin(GPIOE, pump_ctrl_Pin, ctrl_vars.pump_cmd);
			  HAL_GPIO_WritePin(GPIOE, valve_ctrl_Pin, ctrl_vars.valve_cmd);

			  break;
		  case analog_sample:
			  if (ctrl_vars.current_command == SetPressure)  // only in set pressure mode is desired setpoint captured, consider CLAMPING FUNCTION in refactor
			  {
				  if ((pressureSampleBuffer[0].y_posn > UP_RIGHT_THRESHOLD) || (pressureSampleBuffer[0].y_posn < DOWN_LEFT_THRESHOLD))
				  {
					  if (timer_y > JOY_TIMER_TIMEOUT)
					  {
						  timer_y = 0;
						  ctrl_vars.desired_pressure_setpoint =  ctrl_vars.desired_pressure_setpoint + ((pressureSampleBuffer[0].y_posn > UP_RIGHT_THRESHOLD) ? 0.1 : -0.1);
						  if (ctrl_vars.desired_pressure_setpoint > MAX_PRESSURE_SETPOINT)
							  ctrl_vars.desired_pressure_setpoint = MAX_PRESSURE_SETPOINT;
						  if (ctrl_vars.desired_pressure_setpoint < MIN_PRESSURE_SETPOINT)
							  ctrl_vars.desired_pressure_setpoint = MIN_PRESSURE_SETPOINT;
					  }
					  else
					  {
						  timer_y++;
					  }
				  }
			  }  else
			  {
				  timer_y = 0;
			  }

			  if ((pressureSampleBuffer[0].x_posn > UP_RIGHT_THRESHOLD) || (pressureSampleBuffer[0].x_posn < DOWN_LEFT_THRESHOLD))
			  {
				  if (timer_x > JOY_TIMER_TIMEOUT)
				  {
					  timer_x = 0;
					  function_index = function_index + ((pressureSampleBuffer[0].x_posn > UP_RIGHT_THRESHOLD) ? 1 : -1);
					  //wrap forward and backward, mod not used.
					  if (function_index < 0) function_index = sizeof(function_commands) - 1;
					  if (function_index > sizeof(function_commands) - 1) function_index = 0;
					  ctrl_vars.desired_command = function_commands[function_index];
				  }
				  else
				  {
					  timer_x++;
				  }
			  }
			  else
			  {
				  timer_x = 0;
			  }

			  //run display at the slower analog acquistion rate

			  memcpy(&displayQueueBuffer[0], (void *)&ctrl_vars, sizeof(displayQueueBuffer[0]));
			  status = osMessageQueuePut(displayQueueHandle, displayQueueBuffer, 0U, 0U);

			  break;
		  case button_pressed:
			  ctrl_vars.current_command = ctrl_vars.desired_command;
			  if (ctrl_vars.current_command == SetPressure)
				  ctrl_vars.current_pressure_setpoint = ctrl_vars.desired_pressure_setpoint;
			  //commit changes to command or setpoint here.
		  default:
			  ;
		  }

	  }

	  //check status here

      //queue out to display task
	  osThreadYield(); // suspend thread
  }
  /* USER CODE END 5 */
}

/* USER CODE BEGIN Header_buttonTask */
/**
* @brief Function implementing the buttonSampTask thread.
* @param argument: Not used
* @retval None
* https://electronics.stackexchange.com/questions/290592/use-stm32-interrupt-with-freertos
*/
/* USER CODE END Header_buttonTask */
void buttonTask(void *argument)
{
  /* USER CODE BEGIN buttonTask */
	button.value = BUTTON_IS_RELEASED;
	button.flag_debouncing = 0;
  /* Infinite loop */
  for(;;)
  {
	osThreadFlagsWait(USER_BUTTON_DETECTED,osFlagsWaitAny, osWaitForever);
	button.value = BUTTON_IS_PRESSED;
	button.flag_debouncing = 1;

	/*
		* Debounce loop
		* Button was pressed. Wait for its release.
		* Debounce by checking every 10msec until released level is seen unchanged (5 times)
		*/
	for (button.debounce_ctr = STABLE_LEVEL_COUNTER; button.debounce_ctr > 0; button.debounce_ctr--)
	{
		osDelay(USER_BUTTON_DEBOUNCE_STEP__MSEC);

		/*
			* Time 10 msec has passed. If the button is still pressed, restart the debouncing
			*/
		if (HAL_GPIO_ReadPin(GPIOA, button_Pin) == BUTTON_IS_PRESSED)
		{
			button.debounce_ctr = RELOAD_THE_COUNTER; // not released = not stable... restart the counter and wait more
		}
	}

	/*
		* Button is debounced
		*/

	button.value = BUTTON_IS_RELEASED;
	button.flag_debouncing = 0;

	//send message that button press happened
	  pressureSampleBuffer[0].id = button_pressed;
	  osMessageQueuePut(pressureSampleHandle, pressureSampleBuffer, 0U, 0U);

	osDelay(1);

  }
  /* USER CODE END buttonTask */
}

void displayTask(void *argument)
{
  /* USER CODE BEGIN displayTask */
  /* Infinite loop */
	osStatus_t status;
	char display_val[20];
	memset(display_val, ' ', sizeof(display_val));

	int printed_length = 0;
  for(;;)
  {
	  HAL_GPIO_WritePin(GPIOD, GPIO_PIN_15, HAL_GPIO_ReadPin(GPIOD, GPIO_PIN_15) ^ 1);
	  status = osMessageQueueGet(displayQueueHandle, displayQueueBuffer, NULL, osWaitForever); // wait for message
	  if (status == osOK) {

		  memset(display_val, ' ', sizeof(display_val));
		  printed_length = sprintf(display_val,
			  "CPr:%02.2f Set:%02.2f",
			  displayQueueBuffer[0].measured_pressure,
			  displayQueueBuffer[0].current_pressure_setpoint
			  );

		  //displayQueueBuffer[0].desired_pressure_setpoint
		  //debugPrintln(&huart3,display_val);
		  display_val[printed_length] = ' ';
		  debugPrintAtPos(&huart3, display_val,row_positions[0],sizeof(display_val));
		  memset(display_val, ' ', sizeof(display_val));

		  switch (displayQueueBuffer[0].current_command)
		  {
		  case SetPressure:
			  printed_length = sprintf(display_val,
				  "%s Setp:%02.2f",pres_samp_mode,
				  displayQueueBuffer[0].desired_pressure_setpoint);

			  break;
		  case Purge:
			  printed_length = sprintf(display_val,
				  "%s",
				  purge_mode);

			  break;
		  case RunContinuous:
			  printed_length = sprintf(display_val,
				  "%s",
				  continuous_mode);
			  break;
		  default:
			  ;
		  }
		  display_val[printed_length] = ' ';
		  debugPrintAtPos(&huart3, display_val, row_positions[1],sizeof(display_val));
		  memset(display_val, ' ', sizeof(display_val));

		  switch (displayQueueBuffer[0].desired_command)
		  {
		  case SetPressure:
			  printed_length = sprintf(display_val,
				  "Select: %s",
				  pres_samp_mode);

			  break;
		  case Purge:
			  printed_length = sprintf(display_val,
				  "Select: %s",
				  purge_mode);

			  break;
		  case RunContinuous:
			  printed_length = sprintf(display_val,
				  "Select: %s",
				  continuous_mode);
			  break;
		  default:
			  ;
		  }
		  display_val[printed_length] = ' ';
		  debugPrintAtPos(&huart3, display_val, row_positions[2],sizeof(display_val));
		  memset(display_val, ' ', sizeof(display_val));

		  printed_length = sprintf(display_val,
			  "Pump: %1u Valve %1u",
			  displayQueueBuffer[0].pump_cmd,
			  displayQueueBuffer[0].valve_cmd);
		  display_val[printed_length] = ' ';
		  debugPrintAtPos(&huart3, display_val, row_positions[3],sizeof(display_val));
		  memset(display_val, ' ', sizeof(display_val));

		  /*for(int i = 0 ; i < printed_length ; i++) {
		  		debugPrint(&huart3, "\xFE\x49") ; //step back cursor that many times.
	  		}*/
	  }
	  osThreadYield();
  }
  /* USER CODE END displayTask */
}

/* TriggerPressureSample function */
void TriggerPressureSample(void *argument)
{
  /* USER CODE BEGIN TriggerPressureSample */
	HAL_I2C_Master_Transmit_IT(&hi2c3, press_addr, request_sample, sizeof(request_sample)); //signal to start i2c data transmission
  /* USER CODE END TriggerPressureSample */
}

void HAL_TIM_PeriodElapsedCallback(TIM_HandleTypeDef *htim)
{
  if (htim->Instance == TIM1) {
    HAL_IncTick();
  }
}

void Error_Handler(void)
{
  __disable_irq();
  while (1)
  {
  }
}

/************************ (C) COPYRIGHT STMicroelectronics *****END OF FILE****/
